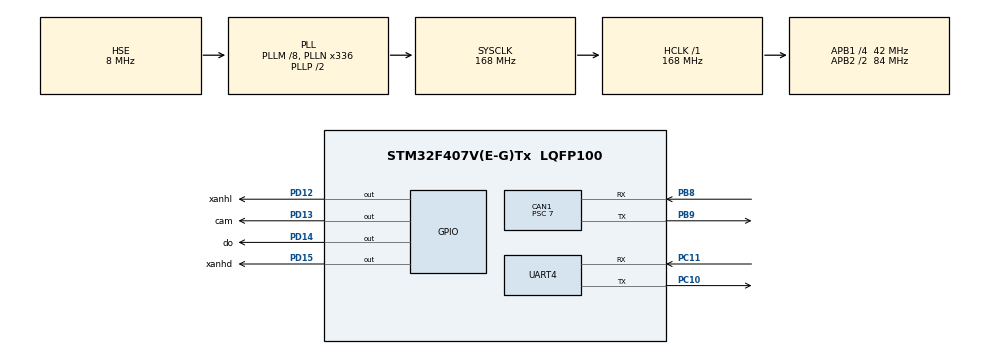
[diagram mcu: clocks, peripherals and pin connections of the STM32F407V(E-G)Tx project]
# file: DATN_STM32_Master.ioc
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CAN1.ABOM=DISABLE
CAN1.AWUM=DISABLE
CAN1.BS1=CAN_BS1_2TQ
CAN1.BS2=CAN_BS2_3TQ
CAN1.CalculateBaudRate=999999
CAN1.CalculateTimeBit=1000
CAN1.CalculateTimeQuantum=166.66666666666669
CAN1.NART=DISABLE
CAN1.Prescaler=7
CAN1.RFLM=DISABLE
CAN1.TXFP=DISABLE
Mcu.Family=STM32F4
Mcu.Name=STM32F407V(E-G)Tx
Mcu.Package=LQFP100
NVIC.CAN1_RX0_IRQn=true\:1\:0\:true\:false\:true\:true\:true\:true
NVIC.PriorityGroup=NVIC_PRIORITYGROUP_1
NVIC.RCC_IRQn=true\:1\:0\:true\:false\:true\:true\:false\:true
NVIC.TIM1_UP_TIM10_IRQn=true\:1\:0\:true\:false\:true\:true\:true\:true
NVIC.UART4_IRQn=true\:0\:0\:false\:false\:true\:true\:true\:true
PA0-WKUP.Mode=SYS_WakeUp0
PA0-WKUP.Signal=SYS_WKUP
PA13.Mode=Serial_Wire
PA13.Signal=SYS_JTMS-SWDIO
PA14.Mode=Serial_Wire
PA14.Signal=SYS_JTCK-SWCLK
PB8.GPIO_PuPd=GPIO_PULLUP
PB8.Mode=CAN_Activate
PB8.Signal=CAN1_RX
PB9.GPIO_PuPd=GPIO_PULLUP
PB9.Mode=CAN_Activate
PB9.Signal=CAN1_TX
PC10.Mode=Asynchronous
PC10.Signal=UART4_TX
PC11.Mode=Asynchronous
PC11.Signal=UART4_RX
PC14-OSC32_IN.Mode=LSE-External-Oscillator
PC14-OSC32_IN.Signal=RCC_OSC32_IN
PC15-OSC32_OUT.Mode=LSE-External-Oscillator
PC15-OSC32_OUT.Signal=RCC_OSC32_OUT
PD12.GPIO_Label=xanhl
PD12.Signal=GPIO_Output
PD13.GPIO_Label=cam
PD13.Signal=GPIO_Output
PD14.GPIO_Label=do
PD14.Signal=GPIO_Output
PD15.GPIO_Label=xanhd
PD15.Signal=GPIO_Output
PH0-OSC_IN.Mode=HSE-External-Oscillator
PH0-OSC_IN.Signal=RCC_OSC_IN
PH1-OSC_OUT.Mode=HSE-External-Oscillator
PH1-OSC_OUT.Signal=RCC_OSC_OUT
ProjectManager.HeapSize=0x200
ProjectManager.StackSize=0x400
ProjectManager.TargetToolchain=STM32CubeIDE
RCC.48MHZClocksFreq_Value=48000000
RCC.AHBFreq_Value=168000000
RCC.APB1CLKDivider=RCC_HCLK_DIV4
RCC.APB1Freq_Value=42000000
RCC.APB1TimFreq_Value=84000000
RCC.APB2CLKDivider=RCC_HCLK_DIV2
RCC.APB2Freq_Value=84000000
RCC.APB2TimFreq_Value=168000000
RCC.CortexFreq_Value=168000000
RCC.HCLKFreq_Value=168000000
RCC.HSE_VALUE=8000000
RCC.HSI_VALUE=16000000
RCC.PLLM=8
RCC.PLLN=336
RCC.PLLQ=7
RCC.PLLSourceVirtual=RCC_PLLSOURCE_HSE
RCC.SYSCLKFreq_VALUE=168000000
RCC.SYSCLKSource=RCC_SYSCLKSOURCE_PLLCLK
RCC.VCOOutputFreq_Value=336000000
TIM1.Period=9999
TIM1.Prescaler=167
TIM2.Prescaler=167
UART4.VirtualMode=Asynchronous
VP_TIM1_VS_ClockSourceINT.Mode=Internal
VP_TIM2_VS_ClockSourceINT.Mode=Internal
board=STM32F407G-DISC1

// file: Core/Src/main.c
/* USER CODE BEGIN Header */
/* USER CODE END Header */
#include "main.h"

/* USER CODE BEGIN Includes */
#include <stdio.h>
#include <stdbool.h>
#include <string.h>
#include <stdlib.h>
#include <math.h>

#include "../../thu_vien/Nhut.h"
/* USER CODE END Includes */

/* USER CODE BEGIN PTD */
CAN_TxHeaderTypeDef TX_CAN_HEADER;
CAN_RxHeaderTypeDef RX_CAN_HEADER;
CAN_FilterTypeDef canfilterconfig;

uint32_t TxMailBox;
uint8_t Data_CAN_Rx[6];

// ================ CREATE OBJECT MOTOR
struct Parameter_motor
{
	uint8_t name;
	uint8_t data[7];
	bool flag_motor;
}motor1, motor2, motor3, motor4, motor5, motor6;

uint8_t Data_encoder[43] = {' '};
uint8_t count = 0;
/* USER CODE END PTD */

/* USER CODE BEGIN PD */

// ================ DATA UART
#define DATA_UART_AVAILABLE  1
#define DATA_UART_UNAVAILABLE 0
// ================ FLAG TIMER 1
#define FLAG_TIMER1_ON  1
#define FLAG_TIMER1_OFF 0

/* USER CODE END PD */

CAN_HandleTypeDef hcan1;

TIM_HandleTypeDef htim1;
TIM_HandleTypeDef htim2;

UART_HandleTypeDef huart4;

/* USER CODE BEGIN PV */

//================ DECLARE UART VALUE
uint8_t Data_UART_Receive[43] ;
uint8_t Data_Received;
uint8_t Data_UART_Receive_Lenght = 0;
uint8_t Data_UART_Saved[43];

bool StateUART = DATA_UART_UNAVAILABLE;
bool Check_OKE = false;
bool Flag_Reset = false;

// ================ DECLARE TIMER1 VALUE
bool flag_timer1 = FLAG_TIMER1_OFF;
/* USER CODE END PV */

void SystemClock_Config(void);
static void MX_GPIO_Init(void);
static void MX_CAN1_Init(void);
static void MX_TIM1_Init(void);
static void MX_TIM2_Init(void);
static void MX_UART4_Init(void);

/* USER CODE BEGIN 0 */
uint8_t theta1[6] = {' ', ' ', ' ', ' ', ' ', ' '},
		theta2[6] = {' ', ' ', ' ', ' ', ' ', ' '},
		theta3[6] = {' ', ' ', ' ', ' ', ' ', ' '},
		theta4[6] = {' ', ' ', ' ', ' ', ' ', ' '},
		theta5[6] = {' ', ' ', ' ', ' ', ' ', ' '},
		theta6[6] = {' ', ' ', ' ', ' ', ' ', ' '};

//===============FUNCTION INTERRUPT TIMER1 (checked)
void HAL_TIM_PeriodElapsedCallback(TIM_HandleTypeDef *htim)
{
	if(htim->Instance == TIM1)
	{
		flag_timer1 = true;
	}
}
//===============FUNCTION INTERRUPT TIMER2 (checked)
void delay_us(uint16_t us)
{
	__HAL_TIM_SET_COUNTER(&htim2,0);  // set the counter value a 0
	while (__HAL_TIM_GET_COUNTER(&htim2) < us);  // wait for the counter to reach the us input in the parameter
}

//===============FUNCTION INTERRUPT UART (checked)
void HAL_UART_RxCpltCallback(UART_HandleTypeDef *huart)
{
	HAL_UART_Receive_IT(&huart4, Data_UART_Receive, 43);
	if(Data_UART_Receive[42] == 's')
	{
		HAL_GPIO_TogglePin(cam_GPIO_Port, cam_Pin);
		StateUART = DATA_UART_AVAILABLE;
		Data_UART_Receive_Lenght = 43;
	}
	else if(Data_UART_Receive[42] == 'r') // Lenh Reset he thong
	{
		HAL_GPIO_TogglePin(do_GPIO_Port, do_Pin);
		Flag_Reset = true;
	}
	else
	{
		StateUART = DATA_UART_UNAVAILABLE;
		for(int i = 0; i < 43; i++)
			Data_UART_Receive[i] = ' ';
	}
}
//===============FUNCTION INTERRUPT CAN MESSAGE (checked)
void HAL_CAN_RxFifo0MsgPendingCallback(CAN_HandleTypeDef *hcan){
	if(HAL_CAN_GetRxMessage(&hcan1, CAN_RX_FIFO0, &RX_CAN_HEADER, Data_CAN_Rx) == HAL_OK)
	{
		HAL_GPIO_TogglePin(GPIOD, GPIO_PIN_15);
		switch(RX_CAN_HEADER.StdId)
		{
		case 0x001:
			motor1.data[0] = Data_CAN_Rx[0];  motor1.data[1] = Data_CAN_Rx[1]; motor1.data[2] = Data_CAN_Rx[2];
			motor1.data[3] = Data_CAN_Rx[3];  motor1.data[4] = Data_CAN_Rx[4]; motor1.data[5] = Data_CAN_Rx[5];
			motor1.flag_motor = true;
			break;
		case 0x002:
			motor2.data[0] = Data_CAN_Rx[0];  motor2.data[1] = Data_CAN_Rx[1]; motor2.data[2] = Data_CAN_Rx[2];
			motor2.data[3] = Data_CAN_Rx[3];  motor2.data[4] = Data_CAN_Rx[4]; motor2.data[5] = Data_CAN_Rx[5];
			motor2.flag_motor= true;
			break;
		case 0x004:
			motor3.data[0] = Data_CAN_Rx[0];  motor3.data[1] = Data_CAN_Rx[1]; motor3.data[2] = Data_CAN_Rx[2];
			motor3.data[3] = Data_CAN_Rx[3];  motor3.data[4] = Data_CAN_Rx[4]; motor3.data[5] = Data_CAN_Rx[5];
			motor3.flag_motor= true;
			break;
		case 0x008:
			motor4.data[0] = Data_CAN_Rx[0];  motor4.data[1] = Data_CAN_Rx[1]; motor4.data[2] = Data_CAN_Rx[2];
			motor4.data[3] = Data_CAN_Rx[3];  motor4.data[4] = Data_CAN_Rx[4]; motor4.data[5] = Data_CAN_Rx[5];
			motor4.flag_motor = true;
			break;
		case 0x010:
			motor5.data[0] = Data_CAN_Rx[0];  motor5.data[1] = Data_CAN_Rx[1]; motor5.data[2] = Data_CAN_Rx[2];
			motor5.data[3] = Data_CAN_Rx[3];  motor5.data[4] = Data_CAN_Rx[4]; motor5.data[5] = Data_CAN_Rx[5];
			motor5.flag_motor= true;
			break;
		case 0x020:
			motor6.data[0] = Data_CAN_Rx[0];  motor6.data[1] = Data_CAN_Rx[1]; motor6.data[2] = Data_CAN_Rx[2];
			motor6.data[3] = Data_CAN_Rx[3];  motor6.data[4] = Data_CAN_Rx[4]; motor6.data[5] = Data_CAN_Rx[5];
			motor6.flag_motor = true;
			break;
		}
	}
}
/* USER CODE END 0 */

int main(void)
{

  /* MCU Configuration--------------------------------------------------------*/

  /* Reset of all peripherals, Initializes the Flash interface and the Systick. */
  HAL_Init();

  /* Configure the system clock */
  SystemClock_Config();

  /* Initialize all configured peripherals */
  MX_GPIO_Init();
  MX_CAN1_Init();
  MX_TIM1_Init();
  MX_TIM2_Init();
  MX_UART4_Init();
  /* USER CODE BEGIN 2 */

	//========================UART RECEIVE IT
	HAL_UART_Init(&huart4);
	HAL_UART_Receive_IT(&huart4, Data_UART_Receive, 43);

	//========================CAN BUS CONFIG
	/*----------------- CAN START TX AND RX ----------*/
	HAL_CAN_Start(&hcan1);
	HAL_CAN_ActivateNotification(&hcan1, CAN_IT_RX_FIFO0_MSG_PENDING); // Enable interrupts
	/*----------------- ENABLE TIMER 1----------*/
	HAL_TIM_Base_Start_IT(&htim1);
	/*----------------- ENABLE TIMER 2----------*/
	HAL_TIM_Base_Start(&htim2);

  /* USER CODE END 2 */

  /* Infinite loop */
  /* USER CODE BEGIN WHILE */

	motor1.flag_motor = false;motor1.name = 'a';
	motor2.flag_motor = false;motor2.name = 'b';
	motor3.flag_motor = false;motor3.name = 'c';
	motor4.flag_motor = false;motor4.name = 'd';
	motor5.flag_motor = false;motor5.name = 'e';
	motor6.flag_motor = false;motor6.name = 'f';
	while(1)
	{
    /* USER CODE END WHILE */

    /* USER CODE BEGIN 3 */
		if(flag_timer1 == true)
		{
			uint8_t length = 0;
			flag_timer1 = false;
			if(StateUART == DATA_UART_AVAILABLE)
			{
				length = Data_UART_Receive_Lenght;
				Data_UART_Receive_Lenght = 0; // Not Reset - > failed
				for(int i = 0; i <= length; i++)
				{
					Data_UART_Saved[i] = Data_UART_Receive[i];
				}
				StateUART = DATA_UART_UNAVAILABLE;
				Check_OKE = true;
				// this function return length
			}
			if(Check_OKE == true && Flag_Reset == false)
			{
				Check_OKE = false;

				// Function handles (checked)
				Split_String_UART(Data_UART_Saved, length, theta1, theta2, theta3, theta4, theta5, theta6);

				// Send 6 massage CAN (checked)
				TX_CAN_HEADER.StdId = 0x001; // Node 1
				HAL_CAN_AddTxMessage(&hcan1, &TX_CAN_HEADER, theta1, &TxMailBox);
				delay_us(300);

				TX_CAN_HEADER.StdId = 0x002;// Node 2
				HAL_CAN_AddTxMessage(&hcan1, &TX_CAN_HEADER, theta2, &TxMailBox);
				delay_us(300);

				TX_CAN_HEADER.StdId = 0x004;// Node 3
				HAL_CAN_AddTxMessage(&hcan1, &TX_CAN_HEADER, theta3, &TxMailBox);
				delay_us(300);

				TX_CAN_HEADER.StdId = 0x008;// Node 4
				HAL_CAN_AddTxMessage(&hcan1, &TX_CAN_HEADER, theta4, &TxMailBox);
				delay_us(300);

				TX_CAN_HEADER.StdId = 0x010;// Node 5
				HAL_CAN_AddTxMessage(&hcan1, &TX_CAN_HEADER, theta5, &TxMailBox);
				delay_us(300);

				TX_CAN_HEADER.StdId = 0x020;// Node 6
				HAL_CAN_AddTxMessage(&hcan1, &TX_CAN_HEADER, theta6, &TxMailBox);
				delay_us(300);

				//=======================SET RUN SYNCHRONOUS

				TX_CAN_HEADER.StdId = 0x000;
				uint8_t Start_6_motor[6] = {'s', ' ', ' ', ' ', ' ', ' '};
				HAL_CAN_AddTxMessage(&hcan1, &TX_CAN_HEADER, Start_6_motor, &TxMailBox);
			}
			else if (Flag_Reset == true) //(checked)
			{
				Flag_Reset = false;
				//----------------------------- Message reset----------------------
				TX_CAN_HEADER.StdId = 0x000;
				uint8_t Start_6_motor[6] = {'r', ' ', ' ', ' ', ' ', ' '};
				HAL_CAN_AddTxMessage(&hcan1, &TX_CAN_HEADER, Start_6_motor, &TxMailBox);
			}
		}

		if(motor1.flag_motor == true && motor2.flag_motor == true && motor3.flag_motor == true && motor4.flag_motor == true && motor5.flag_motor == true && motor6.flag_motor == true)
		{
			motor1.flag_motor = false;
			motor2.flag_motor = false;
			motor3.flag_motor = false;
			motor4.flag_motor = false;
			motor5.flag_motor = false;
			motor6.flag_motor = false;

			Handles_UART_6_motor(motor1.data, motor2.data, motor3.data, motor4.data, motor5.data, motor6.data, Data_encoder);

			HAL_UART_Transmit(&huart4, Data_encoder, 43, 5);
		}
	}
  /* USER CODE END 3 */
}

void SystemClock_Config(void)
{
  RCC_OscInitTypeDef RCC_OscInitStruct = {0};
  RCC_ClkInitTypeDef RCC_ClkInitStruct = {0};

  /** Configure the main internal regulator output voltage
  */
  __HAL_RCC_PWR_CLK_ENABLE();
  __HAL_PWR_VOLTAGESCALING_CONFIG(PWR_REGULATOR_VOLTAGE_SCALE1);

  /** Initializes the RCC Oscillators according to the specified parameters
  * in the RCC_OscInitTypeDef structure.
  */
  RCC_OscInitStruct.OscillatorType = RCC_OSCILLATORTYPE_HSE;
  RCC_OscInitStruct.HSEState = RCC_HSE_ON;
  RCC_OscInitStruct.PLL.PLLState = RCC_PLL_ON;
  RCC_OscInitStruct.PLL.PLLSource = RCC_PLLSOURCE_HSE;
  RCC_OscInitStruct.PLL.PLLM = 8;
  RCC_OscInitStruct.PLL.PLLN = 336;
  RCC_OscInitStruct.PLL.PLLP = RCC_PLLP_DIV2;
  RCC_OscInitStruct.PLL.PLLQ = 7;
  if (HAL_RCC_OscConfig(&RCC_OscInitStruct) != HAL_OK)
  {
    Error_Handler();
  }

  /** Initializes the CPU, AHB and APB buses clocks
  */
  RCC_ClkInitStruct.ClockType = RCC_CLOCKTYPE_HCLK|RCC_CLOCKTYPE_SYSCLK
                              |RCC_CLOCKTYPE_PCLK1|RCC_CLOCKTYPE_PCLK2;
  RCC_ClkInitStruct.SYSCLKSource = RCC_SYSCLKSOURCE_PLLCLK;
  RCC_ClkInitStruct.AHBCLKDivider = RCC_SYSCLK_DIV1;
  RCC_ClkInitStruct.APB1CLKDivider = RCC_HCLK_DIV4;
  RCC_ClkInitStruct.APB2CLKDivider = RCC_HCLK_DIV2;

  if (HAL_RCC_ClockConfig(&RCC_ClkInitStruct, FLASH_LATENCY_5) != HAL_OK)
  {
    Error_Handler();
  }
}

static void MX_CAN1_Init(void)
{

  hcan1.Instance = CAN1;
  hcan1.Init.Prescaler = 7;
  hcan1.Init.Mode = CAN_MODE_NORMAL;
  hcan1.Init.SyncJumpWidth = CAN_SJW_1TQ;
  hcan1.Init.TimeSeg1 = CAN_BS1_2TQ;
  hcan1.Init.TimeSeg2 = CAN_BS2_3TQ;
  hcan1.Init.TimeTriggeredMode = DISABLE;
  hcan1.Init.AutoBusOff = DISABLE;
  hcan1.Init.AutoWakeUp = DISABLE;
  hcan1.Init.AutoRetransmission = DISABLE;
  hcan1.Init.ReceiveFifoLocked = DISABLE;
  hcan1.Init.TransmitFifoPriority = DISABLE;
  if (HAL_CAN_Init(&hcan1) != HAL_OK)
  {
    Error_Handler();
  }
  /* USER CODE BEGIN CAN1_Init 2 */
	/*----------------------- Configuration CAN Filter---------------
	 * */
	canfilterconfig.FilterActivation = CAN_FILTER_ENABLE;
	canfilterconfig.FilterBank = 1; // which filter bank to use from the assigned ones
	canfilterconfig.FilterFIFOAssignment = CAN_FILTER_FIFO0;
	canfilterconfig.FilterIdHigh = 0x000 << 5;
	canfilterconfig.FilterIdLow = 0x000;
	canfilterconfig.FilterMaskIdHigh = 0xf00 << 5;
	canfilterconfig.FilterMaskIdLow = 0x000;
	canfilterconfig.FilterMode = CAN_FILTERMODE_IDMASK;
	canfilterconfig.FilterScale = CAN_FILTERSCALE_32BIT;
	canfilterconfig.SlaveStartFilterBank = 14;
	if(HAL_CAN_ConfigFilter(&hcan1, &canfilterconfig) != HAL_OK) // add
	{
		Error_Handler();
	}
	/* -----------------------------CAN Transmit and Interrrupts ----------------------------- */
	TX_CAN_HEADER.RTR = CAN_RTR_DATA; //Remote transmission request = Data frame
	TX_CAN_HEADER.IDE = CAN_ID_STD; 	 //Standard Id (11 bits for the identifier)
	TX_CAN_HEADER.DLC = 6;
  /* USER CODE END CAN1_Init 2 */

}

static void MX_TIM1_Init(void)
{

  TIM_ClockConfigTypeDef sClockSourceConfig = {0};
  TIM_MasterConfigTypeDef sMasterConfig = {0};

  htim1.Instance = TIM1;
  htim1.Init.Prescaler = 167;
  htim1.Init.CounterMode = TIM_COUNTERMODE_UP;
  htim1.Init.Period = 9999;
  htim1.Init.ClockDivision = TIM_CLOCKDIVISION_DIV1;
  htim1.Init.RepetitionCounter = 0;
  htim1.Init.AutoReloadPreload = TIM_AUTORELOAD_PRELOAD_DISABLE;
  if (HAL_TIM_Base_Init(&htim1) != HAL_OK)
  {
    Error_Handler();
  }
  sClockSourceConfig.ClockSource = TIM_CLOCKSOURCE_INTERNAL;
  if (HAL_TIM_ConfigClockSource(&htim1, &sClockSourceConfig) != HAL_OK)
  {
    Error_Handler();
  }
  sMasterConfig.MasterOutputTrigger = TIM_TRGO_RESET;
  sMasterConfig.MasterSlaveMode = TIM_MASTERSLAVEMODE_DISABLE;
  if (HAL_TIMEx_MasterConfigSynchronization(&htim1, &sMasterConfig) != HAL_OK)
  {
    Error_Handler();
  }

}

static void MX_TIM2_Init(void)
{

  TIM_ClockConfigTypeDef sClockSourceConfig = {0};
  TIM_MasterConfigTypeDef sMasterConfig = {0};

  htim2.Instance = TIM2;
  htim2.Init.Prescaler = 167;
  htim2.Init.CounterMode = TIM_COUNTERMODE_UP;
  htim2.Init.Period = 4294967295;
  htim2.Init.ClockDivision = TIM_CLOCKDIVISION_DIV1;
  htim2.Init.AutoReloadPreload = TIM_AUTORELOAD_PRELOAD_DISABLE;
  if (HAL_TIM_Base_Init(&htim2) != HAL_OK)
  {
    Error_Handler();
  }
  sClockSourceConfig.ClockSource = TIM_CLOCKSOURCE_INTERNAL;
  if (HAL_TIM_ConfigClockSource(&htim2, &sClockSourceConfig) != HAL_OK)
  {
    Error_Handler();
  }
  sMasterConfig.MasterOutputTrigger = TIM_TRGO_RESET;
  sMasterConfig.MasterSlaveMode = TIM_MASTERSLAVEMODE_DISABLE;
  if (HAL_TIMEx_MasterConfigSynchronization(&htim2, &sMasterConfig) != HAL_OK)
  {
    Error_Handler();
  }

}

static void MX_UART4_Init(void)
{

  huart4.Instance = UART4;
  huart4.Init.BaudRate = 115200;
  huart4.Init.WordLength = UART_WORDLENGTH_8B;
  huart4.Init.StopBits = UART_STOPBITS_1;
  huart4.Init.Parity = UART_PARITY_NONE;
  huart4.Init.Mode = UART_MODE_TX_RX;
  huart4.Init.HwFlowCtl = UART_HWCONTROL_NONE;
  huart4.Init.OverSampling = UART_OVERSAMPLING_16;
  if (HAL_UART_Init(&huart4) != HAL_OK)
  {
    Error_Handler();
  }

}

static void MX_GPIO_Init(void)
{
  GPIO_InitTypeDef GPIO_InitStruct = {0};

  /* GPIO Ports Clock Enable */
  __HAL_RCC_GPIOC_CLK_ENABLE();
  __HAL_RCC_GPIOH_CLK_ENABLE();
  __HAL_RCC_GPIOA_CLK_ENABLE();
  __HAL_RCC_GPIOD_CLK_ENABLE();
  __HAL_RCC_GPIOB_CLK_ENABLE();

  /*Configure GPIO pin Output Level */
  HAL_GPIO_WritePin(GPIOD, xanhl_Pin|cam_Pin|do_Pin|xanhd_Pin, GPIO_PIN_RESET);

  /*Configure GPIO pins : xanhl_Pin cam_Pin do_Pin xanhd_Pin */
  GPIO_InitStruct.Pin = xanhl_Pin|cam_Pin|do_Pin|xanhd_Pin;
  GPIO_InitStruct.Mode = GPIO_MODE_OUTPUT_PP;
  GPIO_InitStruct.Pull = GPIO_NOPULL;
  GPIO_InitStruct.Speed = GPIO_SPEED_FREQ_LOW;
  HAL_GPIO_Init(GPIOD, &GPIO_InitStruct);

}

void Error_Handler(void)
{
}
